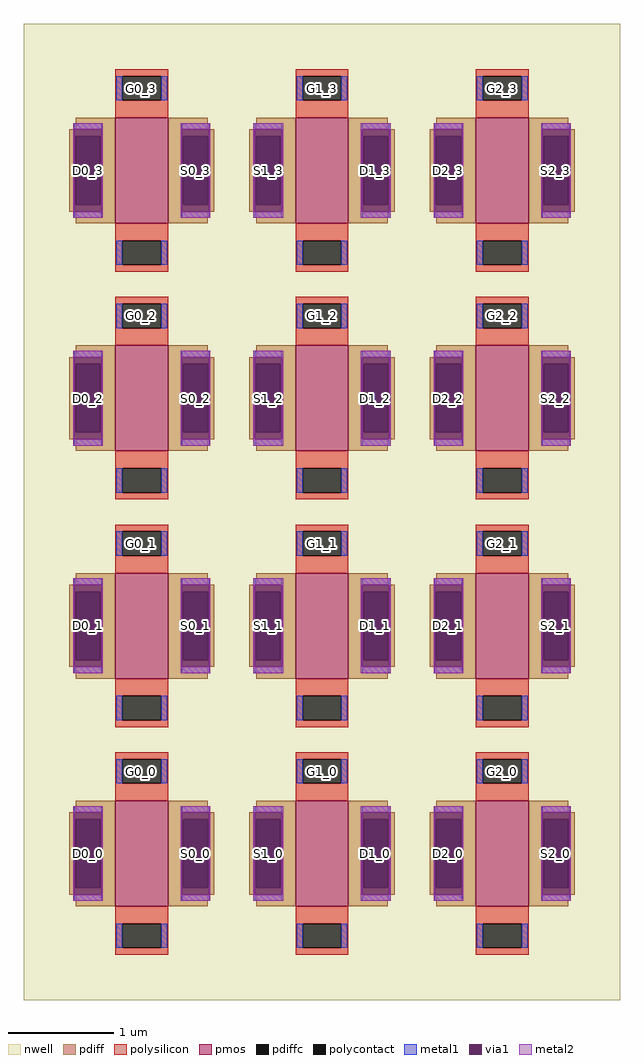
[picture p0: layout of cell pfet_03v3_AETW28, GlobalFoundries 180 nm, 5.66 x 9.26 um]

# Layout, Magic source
magic
tech gf180mcuD
magscale 1 10
<< nwell >>
rect -566 -926 566 926
<< pmos >>
rect -392 548 -292 748
rect -50 548 50 748
rect 292 548 392 748
rect -392 116 -292 316
rect -50 116 50 316
rect 292 116 392 316
rect -392 -316 -292 -116
rect -50 -316 50 -116
rect 292 -316 392 -116
rect -392 -748 -292 -548
rect -50 -748 50 -548
rect 292 -748 392 -548
<< pdiff >>
rect -467 726 -392 748
rect -480 713 -392 726
rect -480 583 -467 713
rect -421 583 -392 713
rect -480 570 -392 583
rect -467 548 -392 570
rect -292 726 -217 748
rect -125 726 -50 748
rect -292 713 -204 726
rect -292 583 -263 713
rect -217 583 -204 713
rect -292 570 -204 583
rect -138 713 -50 726
rect -138 583 -125 713
rect -79 583 -50 713
rect -138 570 -50 583
rect -292 548 -217 570
rect -125 548 -50 570
rect 50 726 125 748
rect 217 726 292 748
rect 50 713 138 726
rect 50 583 79 713
rect 125 583 138 713
rect 50 570 138 583
rect 204 713 292 726
rect 204 583 217 713
rect 263 583 292 713
rect 204 570 292 583
rect 50 548 125 570
rect 217 548 292 570
rect 392 726 467 748
rect 392 713 480 726
rect 392 583 421 713
rect 467 583 480 713
rect 392 570 480 583
rect 392 548 467 570
rect -467 294 -392 316
rect -480 281 -392 294
rect -480 151 -467 281
rect -421 151 -392 281
rect -480 138 -392 151
rect -467 116 -392 138
rect -292 294 -217 316
rect -125 294 -50 316
rect -292 281 -204 294
rect -292 151 -263 281
rect -217 151 -204 281
rect -292 138 -204 151
rect -138 281 -50 294
rect -138 151 -125 281
rect -79 151 -50 281
rect -138 138 -50 151
rect -292 116 -217 138
rect -125 116 -50 138
rect 50 294 125 316
rect 217 294 292 316
rect 50 281 138 294
rect 50 151 79 281
rect 125 151 138 281
rect 50 138 138 151
rect 204 281 292 294
rect 204 151 217 281
rect 263 151 292 281
rect 204 138 292 151
rect 50 116 125 138
rect 217 116 292 138
rect 392 294 467 316
rect 392 281 480 294
rect 392 151 421 281
rect 467 151 480 281
rect 392 138 480 151
rect 392 116 467 138
rect -467 -138 -392 -116
rect -480 -151 -392 -138
rect -480 -281 -467 -151
rect -421 -281 -392 -151
rect -480 -294 -392 -281
rect -467 -316 -392 -294
rect -292 -138 -217 -116
rect -125 -138 -50 -116
rect -292 -151 -204 -138
rect -292 -281 -263 -151
rect -217 -281 -204 -151
rect -292 -294 -204 -281
rect -138 -151 -50 -138
rect -138 -281 -125 -151
rect -79 -281 -50 -151
rect -138 -294 -50 -281
rect -292 -316 -217 -294
rect -125 -316 -50 -294
rect 50 -138 125 -116
rect 217 -138 292 -116
rect 50 -151 138 -138
rect 50 -281 79 -151
rect 125 -281 138 -151
rect 50 -294 138 -281
rect 204 -151 292 -138
rect 204 -281 217 -151
rect 263 -281 292 -151
rect 204 -294 292 -281
rect 50 -316 125 -294
rect 217 -316 292 -294
rect 392 -138 467 -116
rect 392 -151 480 -138
rect 392 -281 421 -151
rect 467 -281 480 -151
rect 392 -294 480 -281
rect 392 -316 467 -294
rect -467 -570 -392 -548
rect -480 -583 -392 -570
rect -480 -713 -467 -583
rect -421 -713 -392 -583
rect -480 -726 -392 -713
rect -467 -748 -392 -726
rect -292 -570 -217 -548
rect -125 -570 -50 -548
rect -292 -583 -204 -570
rect -292 -713 -263 -583
rect -217 -713 -204 -583
rect -292 -726 -204 -713
rect -138 -583 -50 -570
rect -138 -713 -125 -583
rect -79 -713 -50 -583
rect -138 -726 -50 -713
rect -292 -748 -217 -726
rect -125 -748 -50 -726
rect 50 -570 125 -548
rect 217 -570 292 -548
rect 50 -583 138 -570
rect 50 -713 79 -583
rect 125 -713 138 -583
rect 50 -726 138 -713
rect 204 -583 292 -570
rect 204 -713 217 -583
rect 263 -713 292 -583
rect 204 -726 292 -713
rect 50 -748 125 -726
rect 217 -748 292 -726
rect 392 -570 467 -548
rect 392 -583 480 -570
rect 392 -713 421 -583
rect 467 -713 480 -583
rect 392 -726 480 -713
rect 392 -748 467 -726
<< pdiffc >>
rect -467 583 -421 713
rect -263 583 -217 713
rect -125 583 -79 713
rect 79 583 125 713
rect 217 583 263 713
rect 421 583 467 713
rect -467 151 -421 281
rect -263 151 -217 281
rect -125 151 -79 281
rect 79 151 125 281
rect 217 151 263 281
rect 421 151 467 281
rect -467 -281 -421 -151
rect -263 -281 -217 -151
rect -125 -281 -79 -151
rect 79 -281 125 -151
rect 217 -281 263 -151
rect 421 -281 467 -151
rect -467 -713 -421 -583
rect -263 -713 -217 -583
rect -125 -713 -79 -583
rect 79 -713 125 -583
rect 217 -713 263 -583
rect 421 -713 467 -583
<< polysilicon >>
rect -392 827 -292 840
rect -392 781 -379 827
rect -305 781 -292 827
rect -392 748 -292 781
rect -50 827 50 840
rect -50 781 -37 827
rect 37 781 50 827
rect -50 748 50 781
rect 292 827 392 840
rect 292 781 305 827
rect 379 781 392 827
rect 292 748 392 781
rect -392 515 -292 548
rect -392 469 -379 515
rect -305 469 -292 515
rect -392 456 -292 469
rect -50 515 50 548
rect -50 469 -37 515
rect 37 469 50 515
rect -50 456 50 469
rect 292 515 392 548
rect 292 469 305 515
rect 379 469 392 515
rect 292 456 392 469
rect -392 395 -292 408
rect -392 349 -379 395
rect -305 349 -292 395
rect -392 316 -292 349
rect -50 395 50 408
rect -50 349 -37 395
rect 37 349 50 395
rect -50 316 50 349
rect 292 395 392 408
rect 292 349 305 395
rect 379 349 392 395
rect 292 316 392 349
rect -392 83 -292 116
rect -392 37 -379 83
rect -305 37 -292 83
rect -392 24 -292 37
rect -50 83 50 116
rect -50 37 -37 83
rect 37 37 50 83
rect -50 24 50 37
rect 292 83 392 116
rect 292 37 305 83
rect 379 37 392 83
rect 292 24 392 37
rect -392 -37 -292 -24
rect -392 -83 -379 -37
rect -305 -83 -292 -37
rect -392 -116 -292 -83
rect -50 -37 50 -24
rect -50 -83 -37 -37
rect 37 -83 50 -37
rect -50 -116 50 -83
rect 292 -37 392 -24
rect 292 -83 305 -37
rect 379 -83 392 -37
rect 292 -116 392 -83
rect -392 -349 -292 -316
rect -392 -395 -379 -349
rect -305 -395 -292 -349
rect -392 -408 -292 -395
rect -50 -349 50 -316
rect -50 -395 -37 -349
rect 37 -395 50 -349
rect -50 -408 50 -395
rect 292 -349 392 -316
rect 292 -395 305 -349
rect 379 -395 392 -349
rect 292 -408 392 -395
rect -392 -469 -292 -456
rect -392 -515 -379 -469
rect -305 -515 -292 -469
rect -392 -548 -292 -515
rect -50 -469 50 -456
rect -50 -515 -37 -469
rect 37 -515 50 -469
rect -50 -548 50 -515
rect 292 -469 392 -456
rect 292 -515 305 -469
rect 379 -515 392 -469
rect 292 -548 392 -515
rect -392 -781 -292 -748
rect -392 -827 -379 -781
rect -305 -827 -292 -781
rect -392 -840 -292 -827
rect -50 -781 50 -748
rect -50 -827 -37 -781
rect 37 -827 50 -781
rect -50 -840 50 -827
rect 292 -781 392 -748
rect 292 -827 305 -781
rect 379 -827 392 -781
rect 292 -840 392 -827
<< polycontact >>
rect -379 781 -305 827
rect -37 781 37 827
rect 305 781 379 827
rect -379 469 -305 515
rect -37 469 37 515
rect 305 469 379 515
rect -379 349 -305 395
rect -37 349 37 395
rect 305 349 379 395
rect -379 37 -305 83
rect -37 37 37 83
rect 305 37 379 83
rect -379 -83 -305 -37
rect -37 -83 37 -37
rect 305 -83 379 -37
rect -379 -395 -305 -349
rect -37 -395 37 -349
rect 305 -395 379 -349
rect -379 -515 -305 -469
rect -37 -515 37 -469
rect 305 -515 379 -469
rect -379 -827 -305 -781
rect -37 -827 37 -781
rect 305 -827 379 -781
<< metal1 >>
rect -390 781 -379 827
rect -305 781 -294 827
rect -48 781 -37 827
rect 37 781 48 827
rect 294 781 305 827
rect 379 781 390 827
rect -470 726 -418 738
rect -470 558 -418 570
rect -266 726 -214 738
rect -266 558 -214 570
rect -128 726 -76 738
rect -128 558 -76 570
rect 76 726 128 738
rect 76 558 128 570
rect 214 726 266 738
rect 214 558 266 570
rect 418 726 470 738
rect 418 558 470 570
rect -390 469 -379 515
rect -305 469 -294 515
rect -48 469 -37 515
rect 37 469 48 515
rect 294 469 305 515
rect 379 469 390 515
rect -390 349 -379 395
rect -305 349 -294 395
rect -48 349 -37 395
rect 37 349 48 395
rect 294 349 305 395
rect 379 349 390 395
rect -470 294 -418 306
rect -470 126 -418 138
rect -266 294 -214 306
rect -266 126 -214 138
rect -128 294 -76 306
rect -128 126 -76 138
rect 76 294 128 306
rect 76 126 128 138
rect 214 294 266 306
rect 214 126 266 138
rect 418 294 470 306
rect 418 126 470 138
rect -390 37 -379 83
rect -305 37 -294 83
rect -48 37 -37 83
rect 37 37 48 83
rect 294 37 305 83
rect 379 37 390 83
rect -390 -83 -379 -37
rect -305 -83 -294 -37
rect -48 -83 -37 -37
rect 37 -83 48 -37
rect 294 -83 305 -37
rect 379 -83 390 -37
rect -470 -138 -418 -126
rect -470 -306 -418 -294
rect -266 -138 -214 -126
rect -266 -306 -214 -294
rect -128 -138 -76 -126
rect -128 -306 -76 -294
rect 76 -138 128 -126
rect 76 -306 128 -294
rect 214 -138 266 -126
rect 214 -306 266 -294
rect 418 -138 470 -126
rect 418 -306 470 -294
rect -390 -395 -379 -349
rect -305 -395 -294 -349
rect -48 -395 -37 -349
rect 37 -395 48 -349
rect 294 -395 305 -349
rect 379 -395 390 -349
rect -390 -515 -379 -469
rect -305 -515 -294 -469
rect -48 -515 -37 -469
rect 37 -515 48 -469
rect 294 -515 305 -469
rect 379 -515 390 -469
rect -470 -570 -418 -558
rect -470 -738 -418 -726
rect -266 -570 -214 -558
rect -266 -738 -214 -726
rect -128 -570 -76 -558
rect -128 -738 -76 -726
rect 76 -570 128 -558
rect 76 -738 128 -726
rect 214 -570 266 -558
rect 214 -738 266 -726
rect 418 -570 470 -558
rect 418 -738 470 -726
rect -390 -827 -379 -781
rect -305 -827 -294 -781
rect -48 -827 -37 -781
rect 37 -827 48 -781
rect 294 -827 305 -781
rect 379 -827 390 -781
<< via1 >>
rect -470 713 -418 726
rect -470 583 -467 713
rect -467 583 -421 713
rect -421 583 -418 713
rect -470 570 -418 583
rect -266 713 -214 726
rect -266 583 -263 713
rect -263 583 -217 713
rect -217 583 -214 713
rect -266 570 -214 583
rect -128 713 -76 726
rect -128 583 -125 713
rect -125 583 -79 713
rect -79 583 -76 713
rect -128 570 -76 583
rect 76 713 128 726
rect 76 583 79 713
rect 79 583 125 713
rect 125 583 128 713
rect 76 570 128 583
rect 214 713 266 726
rect 214 583 217 713
rect 217 583 263 713
rect 263 583 266 713
rect 214 570 266 583
rect 418 713 470 726
rect 418 583 421 713
rect 421 583 467 713
rect 467 583 470 713
rect 418 570 470 583
rect -470 281 -418 294
rect -470 151 -467 281
rect -467 151 -421 281
rect -421 151 -418 281
rect -470 138 -418 151
rect -266 281 -214 294
rect -266 151 -263 281
rect -263 151 -217 281
rect -217 151 -214 281
rect -266 138 -214 151
rect -128 281 -76 294
rect -128 151 -125 281
rect -125 151 -79 281
rect -79 151 -76 281
rect -128 138 -76 151
rect 76 281 128 294
rect 76 151 79 281
rect 79 151 125 281
rect 125 151 128 281
rect 76 138 128 151
rect 214 281 266 294
rect 214 151 217 281
rect 217 151 263 281
rect 263 151 266 281
rect 214 138 266 151
rect 418 281 470 294
rect 418 151 421 281
rect 421 151 467 281
rect 467 151 470 281
rect 418 138 470 151
rect -470 -151 -418 -138
rect -470 -281 -467 -151
rect -467 -281 -421 -151
rect -421 -281 -418 -151
rect -470 -294 -418 -281
rect -266 -151 -214 -138
rect -266 -281 -263 -151
rect -263 -281 -217 -151
rect -217 -281 -214 -151
rect -266 -294 -214 -281
rect -128 -151 -76 -138
rect -128 -281 -125 -151
rect -125 -281 -79 -151
rect -79 -281 -76 -151
rect -128 -294 -76 -281
rect 76 -151 128 -138
rect 76 -281 79 -151
rect 79 -281 125 -151
rect 125 -281 128 -151
rect 76 -294 128 -281
rect 214 -151 266 -138
rect 214 -281 217 -151
rect 217 -281 263 -151
rect 263 -281 266 -151
rect 214 -294 266 -281
rect 418 -151 470 -138
rect 418 -281 421 -151
rect 421 -281 467 -151
rect 467 -281 470 -151
rect 418 -294 470 -281
rect -470 -583 -418 -570
rect -470 -713 -467 -583
rect -467 -713 -421 -583
rect -421 -713 -418 -583
rect -470 -726 -418 -713
rect -266 -583 -214 -570
rect -266 -713 -263 -583
rect -263 -713 -217 -583
rect -217 -713 -214 -583
rect -266 -726 -214 -713
rect -128 -583 -76 -570
rect -128 -713 -125 -583
rect -125 -713 -79 -583
rect -79 -713 -76 -583
rect -128 -726 -76 -713
rect 76 -583 128 -570
rect 76 -713 79 -583
rect 79 -713 125 -583
rect 125 -713 128 -583
rect 76 -726 128 -713
rect 214 -583 266 -570
rect 214 -713 217 -583
rect 217 -713 263 -583
rect 263 -713 266 -583
rect 214 -726 266 -713
rect 418 -583 470 -570
rect 418 -713 421 -583
rect 421 -713 467 -583
rect 467 -713 470 -583
rect 418 -726 470 -713
<< metal2 >>
rect -472 726 -416 738
rect -472 570 -470 726
rect -418 570 -416 726
rect -472 558 -416 570
rect -268 726 -212 738
rect -268 570 -266 726
rect -214 570 -212 726
rect -268 558 -212 570
rect -130 726 -74 738
rect -130 570 -128 726
rect -76 570 -74 726
rect -130 558 -74 570
rect 74 726 130 738
rect 74 570 76 726
rect 128 570 130 726
rect 74 558 130 570
rect 212 726 268 738
rect 212 570 214 726
rect 266 570 268 726
rect 212 558 268 570
rect 416 726 472 738
rect 416 570 418 726
rect 470 570 472 726
rect 416 558 472 570
rect -472 294 -416 306
rect -472 138 -470 294
rect -418 138 -416 294
rect -472 126 -416 138
rect -268 294 -212 306
rect -268 138 -266 294
rect -214 138 -212 294
rect -268 126 -212 138
rect -130 294 -74 306
rect -130 138 -128 294
rect -76 138 -74 294
rect -130 126 -74 138
rect 74 294 130 306
rect 74 138 76 294
rect 128 138 130 294
rect 74 126 130 138
rect 212 294 268 306
rect 212 138 214 294
rect 266 138 268 294
rect 212 126 268 138
rect 416 294 472 306
rect 416 138 418 294
rect 470 138 472 294
rect 416 126 472 138
rect -472 -138 -416 -126
rect -472 -294 -470 -138
rect -418 -294 -416 -138
rect -472 -306 -416 -294
rect -268 -138 -212 -126
rect -268 -294 -266 -138
rect -214 -294 -212 -138
rect -268 -306 -212 -294
rect -130 -138 -74 -126
rect -130 -294 -128 -138
rect -76 -294 -74 -138
rect -130 -306 -74 -294
rect 74 -138 130 -126
rect 74 -294 76 -138
rect 128 -294 130 -138
rect 74 -306 130 -294
rect 212 -138 268 -126
rect 212 -294 214 -138
rect 266 -294 268 -138
rect 212 -306 268 -294
rect 416 -138 472 -126
rect 416 -294 418 -138
rect 470 -294 472 -138
rect 416 -306 472 -294
rect -472 -570 -416 -558
rect -472 -726 -470 -570
rect -418 -726 -416 -570
rect -472 -738 -416 -726
rect -268 -570 -212 -558
rect -268 -726 -266 -570
rect -214 -726 -212 -570
rect -268 -738 -212 -726
rect -130 -570 -74 -558
rect -130 -726 -128 -570
rect -76 -726 -74 -570
rect -130 -738 -74 -726
rect 74 -570 130 -558
rect 74 -726 76 -570
rect 128 -726 130 -570
rect 74 -738 130 -726
rect 212 -570 268 -558
rect 212 -726 214 -570
rect 266 -726 268 -570
rect 212 -738 268 -726
rect 416 -570 472 -558
rect 416 -726 418 -570
rect 470 -726 472 -570
rect 416 -738 472 -726
<< labels >>
rlabel pdiffc -444 -648 -444 -648 0 D0_0
port 1 nsew
rlabel pdiffc -240 -648 -240 -648 0 S0_0
port 2 nsew
rlabel polycontact -342 -492 -342 -492 0 G0_0
port 3 nsew
rlabel pdiffc -444 -216 -444 -216 0 D0_1
port 4 nsew
rlabel pdiffc -240 -216 -240 -216 0 S0_1
port 5 nsew
rlabel polycontact -342 -60 -342 -60 0 G0_1
port 6 nsew
rlabel pdiffc -444 216 -444 216 0 D0_2
port 7 nsew
rlabel pdiffc -240 216 -240 216 0 S0_2
port 8 nsew
rlabel polycontact -342 372 -342 372 0 G0_2
port 9 nsew
rlabel pdiffc -444 648 -444 648 0 D0_3
port 10 nsew
rlabel pdiffc -240 648 -240 648 0 S0_3
port 11 nsew
rlabel polycontact -342 804 -342 804 0 G0_3
port 12 nsew
rlabel pdiffc 102 -648 102 -648 0 D1_0
port 13 nsew
rlabel pdiffc -102 -648 -102 -648 0 S1_0
port 14 nsew
rlabel polycontact 0 -492 0 -492 0 G1_0
port 15 nsew
rlabel pdiffc 102 -216 102 -216 0 D1_1
port 16 nsew
rlabel pdiffc -102 -216 -102 -216 0 S1_1
port 17 nsew
rlabel polycontact 0 -60 0 -60 0 G1_1
port 18 nsew
rlabel pdiffc 102 216 102 216 0 D1_2
port 19 nsew
rlabel pdiffc -102 216 -102 216 0 S1_2
port 20 nsew
rlabel polycontact 0 372 0 372 0 G1_2
port 21 nsew
rlabel pdiffc 102 648 102 648 0 D1_3
port 22 nsew
rlabel pdiffc -102 648 -102 648 0 S1_3
port 23 nsew
rlabel polycontact 0 804 0 804 0 G1_3
port 24 nsew
rlabel pdiffc 240 -648 240 -648 0 D2_0
port 25 nsew
rlabel pdiffc 444 -648 444 -648 0 S2_0
port 26 nsew
rlabel polycontact 342 -492 342 -492 0 G2_0
port 27 nsew
rlabel pdiffc 240 -216 240 -216 0 D2_1
port 28 nsew
rlabel pdiffc 444 -216 444 -216 0 S2_1
port 29 nsew
rlabel polycontact 342 -60 342 -60 0 G2_1
port 30 nsew
rlabel pdiffc 240 216 240 216 0 D2_2
port 31 nsew
rlabel pdiffc 444 216 444 216 0 S2_2
port 32 nsew
rlabel polycontact 342 372 342 372 0 G2_2
port 33 nsew
rlabel pdiffc 240 648 240 648 0 D2_3
port 34 nsew
rlabel pdiffc 444 648 444 648 0 S2_3
port 35 nsew
rlabel polycontact 342 804 342 804 0 G2_3
port 36 nsew
<< properties >>
string gencell pfet_03v3
string library gf180mcu
string parameters w 1.0 l 0.5 m 4 nf 3 diffcov 75 polycov 100 guard 0 glc 0 grc 0 gtc 0 gbc 0 tbcov 100 rlcov 100 topc 1 botc 1 poverlap 0 doverlap 0 lmin 0.28 wmin 0.22 class mosfet full_metal 0 viasrc 90 viadrn 90 viagate 0 viagb 0 viagr 0 viagl 0 viagt 0 doports 1 compatible {pfet_03v3 pfet_05v0 pfet_06v0}
<< end >>
